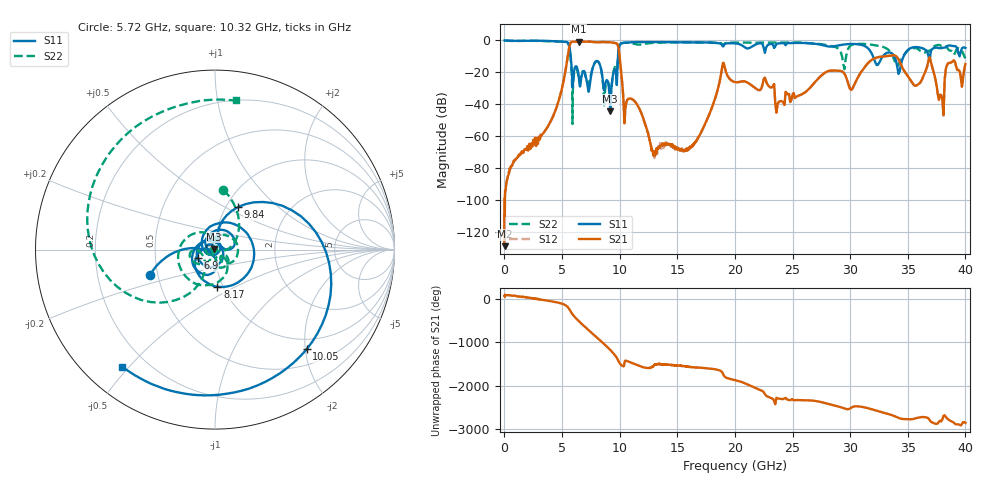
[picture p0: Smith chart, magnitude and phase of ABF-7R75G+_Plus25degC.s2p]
! Mini-Circuits
! S2P DATA File Format
! Type: BAND PASS FILTER
! Model: ABF-7R75G+
! All S Parameters are in dB deg format
! TEST CONDITIONS: INPUT POWER = 0 dBm - +25 deg C
# MHZ S DB R 50
!Frequency  S11 dB  S11 DEG  S21 dB  S21 DEG  S12 dB  S12 DEG  S22 dB  S22 DEG
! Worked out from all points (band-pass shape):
!   1198 points, 10 MHz to 40 GHz, reference 50 ohm
!   highest |S21| = -0.72 dB at 6.44 GHz (marker M1); lowest = -129.2 dB at 20 MHz (marker M2)
!   |S21| within 3 dB of the highest: 5.639 GHz to 9.861 GHz (4.222 GHz wide, 54.5 % of centre)
!   lowest |S11| = -44.5 dB at 9.18 GHz (marker M3), VSWR 1.01, Z = 49.5 + j0.29 ohm
!   |S11| at or under -10 dB: 5.746 GHz to 9.853 GHz (4.107 GHz wide, 52.7 % of centre); 31.98 GHz to 32.84 GHz (860.3 MHz wide, 2.65 % of centre); 33.82 GHz to 34.64 GHz (814.6 MHz wide, 2.38 % of centre)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
!   |S22| runs from -52.5 to -0.1 dB; largest |S21 - S12| = 0.0083
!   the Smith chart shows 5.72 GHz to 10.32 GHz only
!   S11 on the Smith chart (normalised r, x): 5.72 GHz: 0.45, -0.15; 6.9 GHz: 0.82, -0.08; 8.17 GHz: 0.94, -0.41; 9.84 GHz: 1.14, +0.58; 10.05 GHz: 0.79, -2.03; 10.32 GHz: 0.11, -0.48
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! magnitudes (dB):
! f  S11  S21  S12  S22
! 10 MHz  -0.1  -99.4  -114.6  -0.1
! 20 MHz  -0.1  -129.2  -103.9  -0.2
! 3.95 GHz  -0.4  -51.7  -51.7  -0.6
! 5.72 GHz  -8.2  -1.8  -1.8  -9.5
! 5.91 GHz  -29.6  -0.8  -0.8  -43.1
! 6.44 GHz  -22.2  -0.7  -0.7  -23.7
! 6.68 GHz  -22.8  -0.8  -0.8  -21.2
! 6.9 GHz  -19.4  -0.8  -0.8  -19.7
! 7.31 GHz  -32.2  -0.8  -0.8  -27.3
! 8.17 GHz  -13.6  -1.2  -1.2  -13.8
! 9.18 GHz  -44.5  -1.2  -1.2  -34.3
! 9.84 GHz  -11.4  -3.1  -3.2  -11.0
! 10.05 GHz  -2.4  -14.4  -14.5  -2.3
! 10.32 GHz  -1.6  -37.4  -37.4  -1.5
! 13.35 GHz  -1.1  -67.2  -66.5  -1.4
! 16.48 GHz  -1.3  -64.9  -64.4  -1.3
! 18.98 GHz  -3.8  -14.0  -14.0  -3.3
! 20.1 GHz  -2.0  -26.3  -26.2  -1.4
! 26.7 GHz  -2.0  -28.3  -28.3  -1.9
! 33.4 GHz  -7.6  -9.7  -9.7  -6.5
! 37.7 GHz  -4.8  -37.3  -37.5  -2.9
! 40 GHz  -4.7  -14.9  -14.9  -11.3
